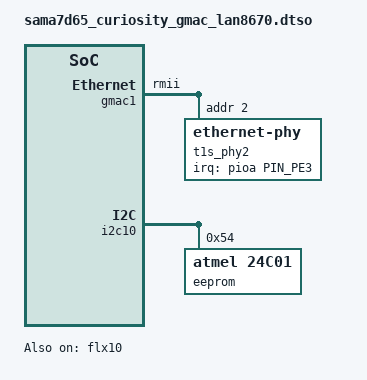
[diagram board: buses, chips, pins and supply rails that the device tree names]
// SPDX-License-Identifier: (GPL-2.0+ OR MIT)
/*
 *  Device Tree overlay for the SAMA7D65-CURIOSITY board
 *  to use a LAN8670 10Base-T1S PHY daughter card.
 *
 *  Copyright (c) 2026 Microchip Technology Inc. and its subsidiaries
 *
 *  Author: Jerry Ray <jerry.ray@microchip.com>
 *
 * Refer to the EV39N38A (LAN8670-EDS2 daughter card)
 *
 */
/dts-v1/;
/plugin/;
#include "sama7d65-pinfunc.h"
#include <dt-bindings/mfd/atmel-flexcom.h>
#include <dt-bindings/clock/at91.h>
#include <dt-bindings/pinctrl/at91.h>
#include <dt-bindings/gpio/gpio.h>
#include <dt-bindings/interrupt-controller/irq.h>

&{/}
{
	model = "Microchip SAMA7D65 Curiosity w/ 10BaseT1S";
};

&flx10 {
	atmel,flexcom-mode = <ATMEL_FLEXCOM_MODE_TWI>;
	status = "okay";
};

&gmac1 {
	#address-cells = <1>;
	#size-cells = <0>;
	phy-mode = "rmii";
	pinctrl-names = "default";
	pinctrl-0 = <&pinctrl_gmac1_rmii_default
		     &pinctrl_gmac1_rxer_default
		     &pinctrl_gmac1_mdc_default
		     &pinctrl_gmac1_mdio_default
		     &pinctrl_gmac1_phy_irq>;
	cdns,refclk-ext;
	status = "okay";

	t1s_phy2: ethernet-phy@2 {
		reg = <0x2>;
		interrupt-parent = <&pioa>;
		interrupts = <PIN_PE3 IRQ_TYPE_LEVEL_LOW>;
		status = "okay";
	};
};

&i2c10 {
	#address-cells = <1>;
	#size-cells = <0>;
	dmas = <0>, <0>;
	status = "okay";

	eeprom@54 {
		compatible = "atmel,24c01";
		reg = <0x54>;
		pagesize = <8>;
		status = "okay";
	};
};

&pioa {
	pinctrl_gmac1_rmii_default: gmac1-rmii-default{
		pinmux = <PIN_PD22__G1_TX0>,
			 <PIN_PD23__G1_TX1>,
			 <PIN_PD27__G1_RX0>,
			 <PIN_PD28__G1_RX1>,
			 <PIN_PD29__G1_REFCK>,
			 <PIN_PD21__G1_TXCTL>,
			 <PIN_PD24__G1_RXCTL>;
		slew-rate = <0>;
		bias-disable;
	};

	pinctrl_gmac1_rxer_default: gmac1-rxer-default{
		pinmux = <PIN_PD30__G1_RXER>;	/* ETH_RXER in RMII  */
		bias-pull-down;
	};
};
